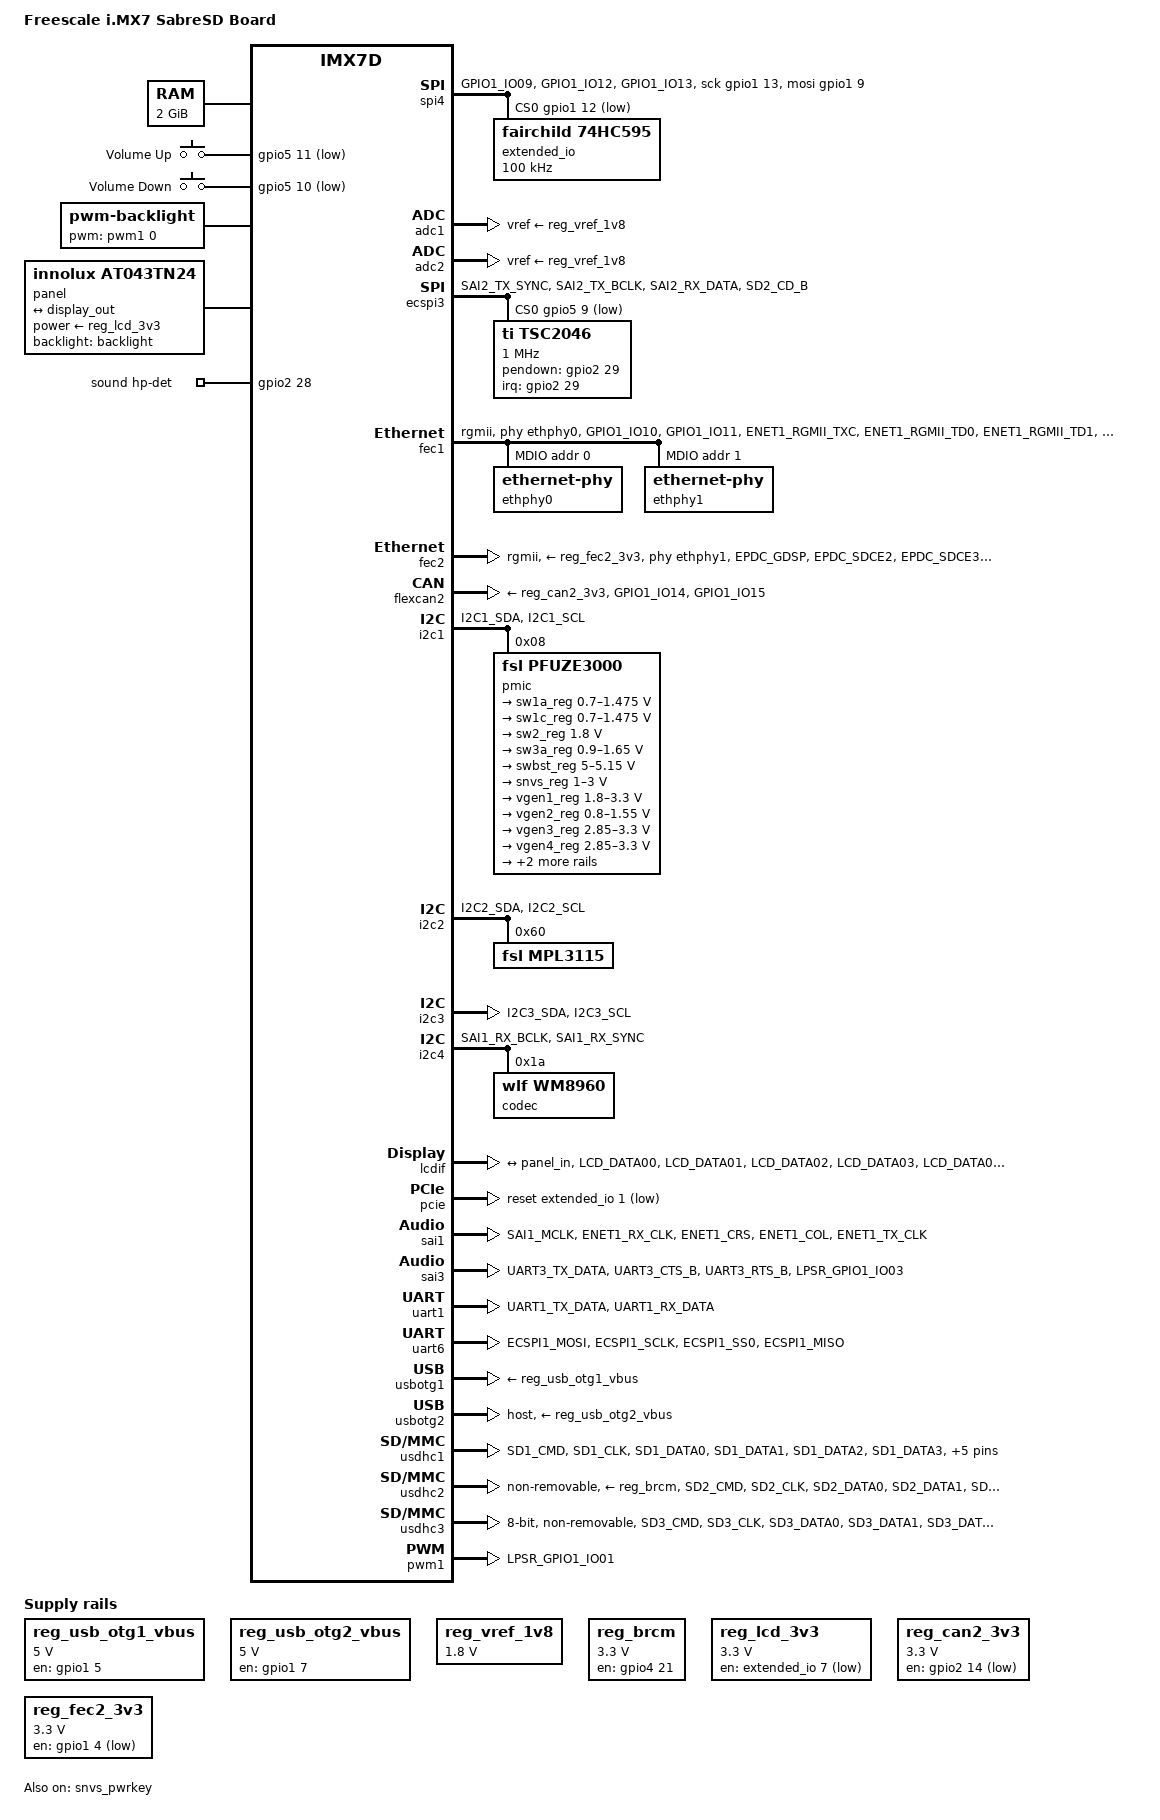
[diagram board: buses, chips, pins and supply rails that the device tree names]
// SPDX-License-Identifier: GPL-2.0+ OR MIT
//
// Copyright (C) 2015 Freescale Semiconductor, Inc.

/dts-v1/;

#include "imx7d.dtsi"

/ {
	model = "Freescale i.MX7 SabreSD Board";
	compatible = "fsl,imx7d-sdb", "fsl,imx7d";

	chosen {
		stdout-path = &uart1;
	};

	memory@80000000 {
		device_type = "memory";
		reg = <0x80000000 0x80000000>;
	};

	gpio-keys {
		compatible = "gpio-keys";
		pinctrl-names = "default";
		pinctrl-0 = <&pinctrl_gpio_keys>;

		volume-up {
			label = "Volume Up";
			gpios = <&gpio5 11 GPIO_ACTIVE_LOW>;
			linux,code = <KEY_VOLUMEUP>;
			wakeup-source;
		};

		volume-down {
			label = "Volume Down";
			gpios = <&gpio5 10 GPIO_ACTIVE_LOW>;
			linux,code = <KEY_VOLUMEDOWN>;
			wakeup-source;
		};
	};

	spi4 {
		compatible = "spi-gpio";
		pinctrl-names = "default";
		pinctrl-0 = <&pinctrl_spi4>;
		gpio-sck = <&gpio1 13 GPIO_ACTIVE_HIGH>;
		gpio-mosi = <&gpio1 9 GPIO_ACTIVE_HIGH>;
		cs-gpios = <&gpio1 12 GPIO_ACTIVE_LOW>;
		num-chipselects = <1>;
		#address-cells = <1>;
		#size-cells = <0>;

		extended_io: gpio-expander@0 {
			compatible = "fairchild,74hc595";
			gpio-controller;
			#gpio-cells = <2>;
			reg = <0>;
			registers-number = <1>;
			spi-max-frequency = <100000>;
		};
	};

	reg_usb_otg1_vbus: regulator-usb-otg1-vbus {
		compatible = "regulator-fixed";
		regulator-name = "usb_otg1_vbus";
		regulator-min-microvolt = <5000000>;
		regulator-max-microvolt = <5000000>;
		gpio = <&gpio1 5 GPIO_ACTIVE_HIGH>;
		enable-active-high;
	};

	reg_usb_otg2_vbus: regulator-usb-otg2-vbus {
		compatible = "regulator-fixed";
		regulator-name = "usb_otg2_vbus";
		pinctrl-names = "default";
		pinctrl-0 = <&pinctrl_usb_otg2_vbus_reg>;
		regulator-min-microvolt = <5000000>;
		regulator-max-microvolt = <5000000>;
		gpio = <&gpio1 7 GPIO_ACTIVE_HIGH>;
		enable-active-high;
	};

	reg_vref_1v8: regulator-vref-1v8 {
		compatible = "regulator-fixed";
		regulator-name = "vref-1v8";
		regulator-min-microvolt = <1800000>;
		regulator-max-microvolt = <1800000>;
	};

	reg_brcm: regulator-brcm {
		compatible = "regulator-fixed";
		gpio = <&gpio4 21 GPIO_ACTIVE_HIGH>;
		enable-active-high;
		regulator-name = "brcm_reg";
		pinctrl-names = "default";
		pinctrl-0 = <&pinctrl_brcm_reg>;
		regulator-min-microvolt = <3300000>;
		regulator-max-microvolt = <3300000>;
		startup-delay-us = <200000>;
	};

	reg_lcd_3v3: regulator-lcd-3v3 {
		compatible = "regulator-fixed";
		regulator-name = "lcd-3v3";
		regulator-min-microvolt = <3300000>;
		regulator-max-microvolt = <3300000>;
		gpio = <&extended_io 7 GPIO_ACTIVE_LOW>;
	};

	reg_can2_3v3: regulator-can2-3v3 {
		compatible = "regulator-fixed";
		regulator-name = "can2-3v3";
		pinctrl-names = "default";
		pinctrl-0 = <&pinctrl_flexcan2_reg>;
		regulator-min-microvolt = <3300000>;
		regulator-max-microvolt = <3300000>;
		gpio = <&gpio2 14 GPIO_ACTIVE_LOW>;
	};

	reg_fec2_3v3: regulator-fec2-3v3 {
		compatible = "regulator-fixed";
		regulator-name = "fec2-3v3";
		pinctrl-names = "default";
		pinctrl-0 = <&pinctrl_enet2_reg>;
		regulator-min-microvolt = <3300000>;
		regulator-max-microvolt = <3300000>;
		gpio = <&gpio1 4 GPIO_ACTIVE_LOW>;
	};

	backlight: backlight {
		compatible = "pwm-backlight";
		pwms = <&pwm1 0 5000000 0>;
		brightness-levels = <0 4 8 16 32 64 128 255>;
		default-brightness-level = <6>;
		status = "okay";
	};

	panel {
		compatible = "innolux,at043tn24";
		backlight = <&backlight>;
		power-supply = <&reg_lcd_3v3>;

		port {
			panel_in: endpoint {
				remote-endpoint = <&display_out>;
			};
		};
	};

	sound {
		compatible = "fsl,imx7d-evk-wm8960",
			     "fsl,imx-audio-wm8960";
		model = "wm8960-audio";
		audio-cpu = <&sai1>;
		audio-codec = <&codec>;
		hp-det-gpio = <&gpio2 28 GPIO_ACTIVE_HIGH>;
		audio-routing =
			"Headphone Jack", "HP_L",
			"Headphone Jack", "HP_R",
			"Ext Spk", "SPK_LP",
			"Ext Spk", "SPK_LN",
			"Ext Spk", "SPK_RP",
			"Ext Spk", "SPK_RN",
			"LINPUT1", "AMIC",
			"AMIC", "MICB";
	};

	sound-hdmi {
		compatible = "fsl,imx-audio-sii902x";
		model = "sii902x-audio";
		audio-cpu = <&sai3>;
		hdmi-out;
	};
};

&adc1 {
	vref-supply = <&reg_vref_1v8>;
	status = "okay";
};

&adc2 {
	vref-supply = <&reg_vref_1v8>;
	status = "okay";
};

&cpu0 {
	cpu-supply = <&sw1a_reg>;
};

&cpu1 {
	cpu-supply = <&sw1a_reg>;
};

&ecspi3 {
	pinctrl-names = "default";
	pinctrl-0 = <&pinctrl_ecspi3>;
	cs-gpios = <&gpio5 9 GPIO_ACTIVE_LOW>;
	status = "okay";

	tsc2046@0 {
		compatible = "ti,tsc2046";
		reg = <0>;
		spi-max-frequency = <1000000>;
		pinctrl-names = "default";
		pinctrl-0 = <&pinctrl_tsc2046_pendown>;
		interrupt-parent = <&gpio2>;
		interrupts = <29 0>;
		pendown-gpio = <&gpio2 29 GPIO_ACTIVE_HIGH>;
		touchscreen-max-pressure = <255>;
		wakeup-source;
	};
};

&fec1 {
	pinctrl-names = "default";
	pinctrl-0 = <&pinctrl_enet1>;
	assigned-clocks = <&clks IMX7D_ENET1_TIME_ROOT_SRC>,
			  <&clks IMX7D_ENET1_TIME_ROOT_CLK>;
	assigned-clock-parents = <&clks IMX7D_PLL_ENET_MAIN_100M_CLK>;
	assigned-clock-rates = <0>, <100000000>;
	phy-mode = "rgmii";
	phy-handle = <&ethphy0>;
	fsl,magic-packet;
	phy-reset-gpios = <&extended_io 5 GPIO_ACTIVE_LOW>;
	status = "okay";

	mdio {
		#address-cells = <1>;
		#size-cells = <0>;

		ethphy0: ethernet-phy@0 {
			reg = <0>;
		};

		ethphy1: ethernet-phy@1 {
			reg = <1>;
		};
	};
};

&fec2 {
	pinctrl-names = "default";
	pinctrl-0 = <&pinctrl_enet2>;
	assigned-clocks = <&clks IMX7D_ENET2_TIME_ROOT_SRC>,
			  <&clks IMX7D_ENET2_TIME_ROOT_CLK>;
	assigned-clock-parents = <&clks IMX7D_PLL_ENET_MAIN_100M_CLK>;
	assigned-clock-rates = <0>, <100000000>;
	phy-mode = "rgmii";
	phy-handle = <&ethphy1>;
	phy-supply = <&reg_fec2_3v3>;
	fsl,magic-packet;
	status = "okay";
};

&flexcan2 {
	pinctrl-names = "default";
	pinctrl-0 = <&pinctrl_flexcan2>;
	xceiver-supply = <&reg_can2_3v3>;
	status = "okay";
};

&i2c1 {
	pinctrl-names = "default";
	pinctrl-0 = <&pinctrl_i2c1>;
	status = "okay";

	pmic: pfuze3000@8 {
		compatible = "fsl,pfuze3000";
		reg = <0x08>;

		regulators {
			sw1a_reg: sw1a {
				regulator-min-microvolt = <700000>;
				regulator-max-microvolt = <1475000>;
				regulator-boot-on;
				regulator-always-on;
				regulator-ramp-delay = <6250>;
			};

			/* use sw1c_reg to align with pfuze100/pfuze200 */
			sw1c_reg: sw1b {
				regulator-min-microvolt = <700000>;
				regulator-max-microvolt = <1475000>;
				regulator-boot-on;
				regulator-always-on;
				regulator-ramp-delay = <6250>;
			};

			sw2_reg: sw2 {
				regulator-min-microvolt = <1800000>;
				regulator-max-microvolt = <1800000>;
				regulator-boot-on;
				regulator-always-on;
			};

			sw3a_reg: sw3 {
				regulator-min-microvolt = <900000>;
				regulator-max-microvolt = <1650000>;
				regulator-boot-on;
				regulator-always-on;
			};

			swbst_reg: swbst {
				regulator-min-microvolt = <5000000>;
				regulator-max-microvolt = <5150000>;
			};

			snvs_reg: vsnvs {
				regulator-min-microvolt = <1000000>;
				regulator-max-microvolt = <3000000>;
				regulator-boot-on;
				regulator-always-on;
			};

			vref_reg: vrefddr {
				regulator-boot-on;
				regulator-always-on;
			};

			vgen1_reg: vldo1 {
				regulator-min-microvolt = <1800000>;
				regulator-max-microvolt = <3300000>;
				regulator-always-on;
			};

			vgen2_reg: vldo2 {
				regulator-min-microvolt = <800000>;
				regulator-max-microvolt = <1550000>;
			};

			vgen3_reg: vccsd {
				regulator-min-microvolt = <2850000>;
				regulator-max-microvolt = <3300000>;
				regulator-always-on;
			};

			vgen4_reg: v33 {
				regulator-min-microvolt = <2850000>;
				regulator-max-microvolt = <3300000>;
				regulator-always-on;
			};

			vgen5_reg: vldo3 {
				regulator-min-microvolt = <1800000>;
				regulator-max-microvolt = <3300000>;
				regulator-always-on;
			};

			vgen6_reg: vldo4 {
				regulator-min-microvolt = <2800000>;
				regulator-max-microvolt = <2800000>;
				regulator-always-on;
			};
		};
	};
};

&i2c2 {
	pinctrl-names = "default";
	pinctrl-0 = <&pinctrl_i2c2>;
	status = "okay";

	mpl3115@60 {
		compatible = "fsl,mpl3115";
		reg = <0x60>;
	};
};

&i2c3 {
	pinctrl-names = "default";
	pinctrl-0 = <&pinctrl_i2c3>;
	status = "okay";
};

&i2c4 {
	pinctrl-names = "default";
	pinctrl-0 = <&pinctrl_i2c4>;
	status = "okay";

	codec: wm8960@1a {
		compatible = "wlf,wm8960";
		reg = <0x1a>;
		clocks = <&clks IMX7D_AUDIO_MCLK_ROOT_DIV>;
		clock-names = "mclk";
		wlf,shared-lrclk;
		wlf,hp-cfg = <2 2 3>;
		wlf,gpio-cfg = <1 3>;
		assigned-clocks = <&clks IMX7D_AUDIO_MCLK_ROOT_SRC>,
				  <&clks IMX7D_PLL_AUDIO_POST_DIV>,
				  <&clks IMX7D_AUDIO_MCLK_ROOT_DIV>;
		assigned-clock-parents = <&clks IMX7D_PLL_AUDIO_POST_DIV>;
		assigned-clock-rates = <0>, <884736000>, <12288000>;
	};
};

&lcdif {
	pinctrl-names = "default";
	pinctrl-0 = <&pinctrl_lcdif>;
	status = "okay";

	port {
		display_out: endpoint {
			remote-endpoint = <&panel_in>;
		};
	};
};

&pcie {
	reset-gpio = <&extended_io 1 GPIO_ACTIVE_LOW>;
	status = "okay";
};

&reg_1p0d {
	vin-supply = <&sw2_reg>;
};

&reg_1p2 {
	vin-supply = <&sw2_reg>;
};

&sai1 {
	pinctrl-names = "default";
	pinctrl-0 = <&pinctrl_sai1>;
	assigned-clocks = <&clks IMX7D_SAI1_ROOT_SRC>,
			  <&clks IMX7D_PLL_AUDIO_POST_DIV>,
			  <&clks IMX7D_SAI1_ROOT_CLK>;
	assigned-clock-parents = <&clks IMX7D_PLL_AUDIO_POST_DIV>;
	assigned-clock-rates = <0>, <884736000>, <36864000>;
	status = "okay";
};

&sai3 {
	pinctrl-names = "default";
	pinctrl-0 = <&pinctrl_sai3 &pinctrl_sai3_mclk>;
	assigned-clocks = <&clks IMX7D_SAI3_ROOT_SRC>,
			  <&clks IMX7D_PLL_AUDIO_POST_DIV>,
			  <&clks IMX7D_SAI3_ROOT_CLK>;
	assigned-clock-parents = <&clks IMX7D_PLL_AUDIO_POST_DIV>;
	assigned-clock-rates = <0>, <884736000>, <36864000>;
	status = "okay";
};

&snvs_pwrkey {
	status = "okay";
};

&uart1 {
	pinctrl-names = "default";
	pinctrl-0 = <&pinctrl_uart1>;
	assigned-clocks = <&clks IMX7D_UART1_ROOT_SRC>;
	assigned-clock-parents = <&clks IMX7D_PLL_SYS_MAIN_240M_CLK>;
	status = "okay";
};

&uart6 {
	pinctrl-names = "default";
	pinctrl-0 = <&pinctrl_uart6>;
	assigned-clocks = <&clks IMX7D_UART6_ROOT_SRC>;
	assigned-clock-parents = <&clks IMX7D_PLL_SYS_MAIN_240M_CLK>;
	uart-has-rtscts;
	status = "okay";
};

&usbotg1 {
	vbus-supply = <&reg_usb_otg1_vbus>;
	status = "okay";
};

&usbotg2 {
	vbus-supply = <&reg_usb_otg2_vbus>;
	dr_mode = "host";
	status = "okay";
};

&usdhc1 {
	pinctrl-names = "default";
	pinctrl-0 = <&pinctrl_usdhc1>;
	cd-gpios = <&gpio5 0 GPIO_ACTIVE_LOW>;
	wp-gpios = <&gpio5 1 GPIO_ACTIVE_HIGH>;
	wakeup-source;
	keep-power-in-suspend;
	status = "okay";
};

&usdhc2 {
	pinctrl-names = "default", "state_100mhz", "state_200mhz";
	pinctrl-0 = <&pinctrl_usdhc2>;
	pinctrl-1 = <&pinctrl_usdhc2_100mhz>;
	pinctrl-2 = <&pinctrl_usdhc2_200mhz>;
	wakeup-source;
	keep-power-in-suspend;
	non-removable;
	vmmc-supply = <&reg_brcm>;
	fsl,tuning-step = <2>;
	status = "okay";
};

&usdhc3 {
	pinctrl-names = "default", "state_100mhz", "state_200mhz";
	pinctrl-0 = <&pinctrl_usdhc3>;
	pinctrl-1 = <&pinctrl_usdhc3_100mhz>;
	pinctrl-2 = <&pinctrl_usdhc3_200mhz>;
	assigned-clocks = <&clks IMX7D_USDHC3_ROOT_CLK>;
	assigned-clock-rates = <400000000>;
	bus-width = <8>;
	fsl,tuning-step = <2>;
	non-removable;
	status = "okay";
};

&wdog1 {
	pinctrl-names = "default";
	pinctrl-0 = <&pinctrl_wdog>;
	fsl,ext-reset-output;
};

&iomuxc {
	pinctrl-names = "default";
	pinctrl-0 = <&pinctrl_hog>;

	imx7d-sdb {
		pinctrl_brcm_reg: brcmreggrp {
			fsl,pins = <
				MX7D_PAD_ECSPI2_MOSI__GPIO4_IO21	0x14
			>;
		};

		pinctrl_ecspi3: ecspi3grp {
			fsl,pins = <
				MX7D_PAD_SAI2_TX_SYNC__ECSPI3_MISO	0x2
				MX7D_PAD_SAI2_TX_BCLK__ECSPI3_MOSI	0x2
				MX7D_PAD_SAI2_RX_DATA__ECSPI3_SCLK	0x2
				MX7D_PAD_SD2_CD_B__GPIO5_IO9		0x59
			>;
		};

		pinctrl_enet1: enet1grp {
			fsl,pins = <
				MX7D_PAD_GPIO1_IO10__ENET1_MDIO			0x3
				MX7D_PAD_GPIO1_IO11__ENET1_MDC			0x3
				MX7D_PAD_ENET1_RGMII_TXC__ENET1_RGMII_TXC	0x1
				MX7D_PAD_ENET1_RGMII_TD0__ENET1_RGMII_TD0	0x1
				MX7D_PAD_ENET1_RGMII_TD1__ENET1_RGMII_TD1	0x1
				MX7D_PAD_ENET1_RGMII_TD2__ENET1_RGMII_TD2	0x1
				MX7D_PAD_ENET1_RGMII_TD3__ENET1_RGMII_TD3	0x1
				MX7D_PAD_ENET1_RGMII_TX_CTL__ENET1_RGMII_TX_CTL	0x1
				MX7D_PAD_ENET1_RGMII_RXC__ENET1_RGMII_RXC	0x1
				MX7D_PAD_ENET1_RGMII_RD0__ENET1_RGMII_RD0	0x1
				MX7D_PAD_ENET1_RGMII_RD1__ENET1_RGMII_RD1	0x1
				MX7D_PAD_ENET1_RGMII_RD2__ENET1_RGMII_RD2	0x1
				MX7D_PAD_ENET1_RGMII_RD3__ENET1_RGMII_RD3	0x1
				MX7D_PAD_ENET1_RGMII_RX_CTL__ENET1_RGMII_RX_CTL	0x1
			>;
		};

		pinctrl_enet2: enet2grp {
			fsl,pins = <
				MX7D_PAD_EPDC_GDSP__ENET2_RGMII_TXC		0x1
				MX7D_PAD_EPDC_SDCE2__ENET2_RGMII_TD0		0x1
				MX7D_PAD_EPDC_SDCE3__ENET2_RGMII_TD1		0x1
				MX7D_PAD_EPDC_GDCLK__ENET2_RGMII_TD2		0x1
				MX7D_PAD_EPDC_GDOE__ENET2_RGMII_TD3		0x1
				MX7D_PAD_EPDC_GDRL__ENET2_RGMII_TX_CTL		0x1
				MX7D_PAD_EPDC_SDCE1__ENET2_RGMII_RXC		0x1
				MX7D_PAD_EPDC_SDCLK__ENET2_RGMII_RD0		0x1
				MX7D_PAD_EPDC_SDLE__ENET2_RGMII_RD1		0x1
				MX7D_PAD_EPDC_SDOE__ENET2_RGMII_RD2		0x1
				MX7D_PAD_EPDC_SDSHR__ENET2_RGMII_RD3		0x1
				MX7D_PAD_EPDC_SDCE0__ENET2_RGMII_RX_CTL		0x1
			>;
		};

		pinctrl_enet2_reg: enet2reggrp {
			fsl,pins = <
				MX7D_PAD_LPSR_GPIO1_IO04__GPIO1_IO4	0x14
			>;
		};

		pinctrl_flexcan2: flexcan2grp {
			fsl,pins = <
				MX7D_PAD_GPIO1_IO14__FLEXCAN2_RX	0x59
				MX7D_PAD_GPIO1_IO15__FLEXCAN2_TX	0x59
			>;
		};

		pinctrl_flexcan2_reg: flexcan2reggrp {
			fsl,pins = <
				MX7D_PAD_EPDC_DATA14__GPIO2_IO14	0x59	/* CAN_STBY */
			>;
		};

		pinctrl_gpio_keys: gpio_keysgrp {
			fsl,pins = <
				MX7D_PAD_SD2_RESET_B__GPIO5_IO11	0x59
				MX7D_PAD_SD2_WP__GPIO5_IO10		0x59
			>;
		};

		pinctrl_hog: hoggrp {
			fsl,pins = <
				MX7D_PAD_ECSPI2_SS0__GPIO4_IO23		0x34  /* bt reg on */
				MX7D_PAD_EPDC_BDR0__GPIO2_IO28		0x59  /* headphone detect */
			>;
		};

		pinctrl_i2c1: i2c1grp {
			fsl,pins = <
				MX7D_PAD_I2C1_SDA__I2C1_SDA		0x4000007f
				MX7D_PAD_I2C1_SCL__I2C1_SCL		0x4000007f
			>;
		};

		pinctrl_i2c2: i2c2grp {
			fsl,pins = <
				MX7D_PAD_I2C2_SDA__I2C2_SDA		0x4000007f
				MX7D_PAD_I2C2_SCL__I2C2_SCL		0x4000007f
			>;
		};

		pinctrl_i2c3: i2c3grp {
			fsl,pins = <
				MX7D_PAD_I2C3_SDA__I2C3_SDA		0x4000007f
				MX7D_PAD_I2C3_SCL__I2C3_SCL		0x4000007f
			>;
		};

		pinctrl_i2c4: i2c4grp {
			fsl,pins = <
				MX7D_PAD_SAI1_RX_BCLK__I2C4_SDA		0x4000007f
				MX7D_PAD_SAI1_RX_SYNC__I2C4_SCL		0x4000007f
			>;
		};

		pinctrl_lcdif: lcdifgrp {
			fsl,pins = <
				MX7D_PAD_LCD_DATA00__LCD_DATA0		0x79
				MX7D_PAD_LCD_DATA01__LCD_DATA1		0x79
				MX7D_PAD_LCD_DATA02__LCD_DATA2		0x79
				MX7D_PAD_LCD_DATA03__LCD_DATA3		0x79
				MX7D_PAD_LCD_DATA04__LCD_DATA4		0x79
				MX7D_PAD_LCD_DATA05__LCD_DATA5		0x79
				MX7D_PAD_LCD_DATA06__LCD_DATA6		0x79
				MX7D_PAD_LCD_DATA07__LCD_DATA7		0x79
				MX7D_PAD_LCD_DATA08__LCD_DATA8		0x79
				MX7D_PAD_LCD_DATA09__LCD_DATA9		0x79
				MX7D_PAD_LCD_DATA10__LCD_DATA10		0x79
				MX7D_PAD_LCD_DATA11__LCD_DATA11		0x79
				MX7D_PAD_LCD_DATA12__LCD_DATA12		0x79
				MX7D_PAD_LCD_DATA13__LCD_DATA13		0x79
				MX7D_PAD_LCD_DATA14__LCD_DATA14		0x79
				MX7D_PAD_LCD_DATA15__LCD_DATA15		0x79
				MX7D_PAD_LCD_DATA16__LCD_DATA16		0x79
				MX7D_PAD_LCD_DATA17__LCD_DATA17		0x79
				MX7D_PAD_LCD_DATA18__LCD_DATA18		0x79
				MX7D_PAD_LCD_DATA19__LCD_DATA19		0x79
				MX7D_PAD_LCD_DATA20__LCD_DATA20		0x79
				MX7D_PAD_LCD_DATA21__LCD_DATA21		0x79
				MX7D_PAD_LCD_DATA22__LCD_DATA22		0x79
				MX7D_PAD_LCD_DATA23__LCD_DATA23		0x79
				MX7D_PAD_LCD_CLK__LCD_CLK		0x79
				MX7D_PAD_LCD_ENABLE__LCD_ENABLE		0x79
				MX7D_PAD_LCD_VSYNC__LCD_VSYNC		0x79
				MX7D_PAD_LCD_HSYNC__LCD_HSYNC		0x79
				MX7D_PAD_LCD_RESET__LCD_RESET		0x79
			>;
		};

		pinctrl_sai1: sai1grp {
			fsl,pins = <
				MX7D_PAD_SAI1_MCLK__SAI1_MCLK           0x1f
				MX7D_PAD_ENET1_RX_CLK__SAI1_TX_BCLK     0x1f
				MX7D_PAD_ENET1_CRS__SAI1_TX_SYNC	0x1f
				MX7D_PAD_ENET1_COL__SAI1_TX_DATA0	0x30
				MX7D_PAD_ENET1_TX_CLK__SAI1_RX_DATA0	0x1f
			>;
		};

		pinctrl_sai2: sai2grp {
			fsl,pins = <
				MX7D_PAD_SAI2_TX_BCLK__SAI2_TX_BCLK     0x1f
				MX7D_PAD_SAI2_TX_SYNC__SAI2_TX_SYNC     0x1f
				MX7D_PAD_SAI2_TX_DATA__SAI2_TX_DATA0    0x30
				MX7D_PAD_SAI2_RX_DATA__SAI2_RX_DATA0    0x1f
			>;
		};

		pinctrl_sai3: sai3grp {
			fsl,pins = <
				MX7D_PAD_UART3_TX_DATA__SAI3_TX_BCLK   0x1f
				MX7D_PAD_UART3_CTS_B__SAI3_TX_SYNC     0x1f
				MX7D_PAD_UART3_RTS_B__SAI3_TX_DATA0    0x30
			>;
		};

		pinctrl_spi4: spi4grp {
			fsl,pins = <
				MX7D_PAD_GPIO1_IO09__GPIO1_IO9	0x59
				MX7D_PAD_GPIO1_IO12__GPIO1_IO12	0x59
				MX7D_PAD_GPIO1_IO13__GPIO1_IO13	0x59
			>;
		};

		pinctrl_tsc2046_pendown: tsc2046_pendown {
			fsl,pins = <
				MX7D_PAD_EPDC_BDR1__GPIO2_IO29		0x59
			>;
		};

		pinctrl_uart1: uart1grp {
			fsl,pins = <
				MX7D_PAD_UART1_TX_DATA__UART1_DCE_TX	0x79
				MX7D_PAD_UART1_RX_DATA__UART1_DCE_RX	0x79
			>;
		};

		pinctrl_uart5: uart5grp {
			fsl,pins = <
				MX7D_PAD_SAI1_TX_BCLK__UART5_DCE_TX	0x79
				MX7D_PAD_SAI1_RX_DATA__UART5_DCE_RX	0x79
				MX7D_PAD_SAI1_TX_SYNC__UART5_DCE_CTS	0x79
				MX7D_PAD_SAI1_TX_DATA__UART5_DCE_RTS	0x79
			>;
		};

		pinctrl_uart6: uart6grp {
			fsl,pins = <
				MX7D_PAD_ECSPI1_MOSI__UART6_DCE_TX	0x79
				MX7D_PAD_ECSPI1_SCLK__UART6_DCE_RX	0x79
				MX7D_PAD_ECSPI1_SS0__UART6_DCE_CTS	0x79
				MX7D_PAD_ECSPI1_MISO__UART6_DCE_RTS	0x79
			>;
		};

		pinctrl_usdhc1: usdhc1grp {
			fsl,pins = <
				MX7D_PAD_SD1_CMD__SD1_CMD		0x59
				MX7D_PAD_SD1_CLK__SD1_CLK		0x19
				MX7D_PAD_SD1_DATA0__SD1_DATA0		0x59
				MX7D_PAD_SD1_DATA1__SD1_DATA1		0x59
				MX7D_PAD_SD1_DATA2__SD1_DATA2		0x59
				MX7D_PAD_SD1_DATA3__SD1_DATA3		0x59
				MX7D_PAD_SD1_CD_B__GPIO5_IO0		0x59 /* CD */
				MX7D_PAD_SD1_WP__GPIO5_IO1		0x59 /* WP */
				MX7D_PAD_SD1_RESET_B__GPIO5_IO2		0x59 /* vmmc */
			>;
		};

		pinctrl_usdhc2: usdhc2grp {
			fsl,pins = <
				MX7D_PAD_SD2_CMD__SD2_CMD		0x59
				MX7D_PAD_SD2_CLK__SD2_CLK		0x19
				MX7D_PAD_SD2_DATA0__SD2_DATA0		0x59
				MX7D_PAD_SD2_DATA1__SD2_DATA1		0x59
				MX7D_PAD_SD2_DATA2__SD2_DATA2		0x59
				MX7D_PAD_SD2_DATA3__SD2_DATA3		0x59
			>;
		};

		pinctrl_usdhc2_100mhz: usdhc2grp_100mhz {
			fsl,pins = <
				MX7D_PAD_SD2_CMD__SD2_CMD		0x5a
				MX7D_PAD_SD2_CLK__SD2_CLK		0x1a
				MX7D_PAD_SD2_DATA0__SD2_DATA0		0x5a
				MX7D_PAD_SD2_DATA1__SD2_DATA1		0x5a
				MX7D_PAD_SD2_DATA2__SD2_DATA2		0x5a
				MX7D_PAD_SD2_DATA3__SD2_DATA3		0x5a
			>;
		};

		pinctrl_usdhc2_200mhz: usdhc2grp_200mhz {
			fsl,pins = <
				MX7D_PAD_SD2_CMD__SD2_CMD		0x5b
				MX7D_PAD_SD2_CLK__SD2_CLK		0x1b
				MX7D_PAD_SD2_DATA0__SD2_DATA0		0x5b
				MX7D_PAD_SD2_DATA1__SD2_DATA1		0x5b
				MX7D_PAD_SD2_DATA2__SD2_DATA2		0x5b
				MX7D_PAD_SD2_DATA3__SD2_DATA3		0x5b
			>;
		};


		pinctrl_usdhc3: usdhc3grp {
			fsl,pins = <
				MX7D_PAD_SD3_CMD__SD3_CMD		0x59
				MX7D_PAD_SD3_CLK__SD3_CLK		0x19
				MX7D_PAD_SD3_DATA0__SD3_DATA0		0x59
				MX7D_PAD_SD3_DATA1__SD3_DATA1		0x59
				MX7D_PAD_SD3_DATA2__SD3_DATA2		0x59
				MX7D_PAD_SD3_DATA3__SD3_DATA3		0x59
				MX7D_PAD_SD3_DATA4__SD3_DATA4		0x59
				MX7D_PAD_SD3_DATA5__SD3_DATA5		0x59
				MX7D_PAD_SD3_DATA6__SD3_DATA6		0x59
				MX7D_PAD_SD3_DATA7__SD3_DATA7		0x59
				MX7D_PAD_SD3_STROBE__SD3_STROBE		0x19
			>;
		};

		pinctrl_usdhc3_100mhz: usdhc3grp_100mhz {
			fsl,pins = <
				MX7D_PAD_SD3_CMD__SD3_CMD		0x5a
				MX7D_PAD_SD3_CLK__SD3_CLK		0x1a
				MX7D_PAD_SD3_DATA0__SD3_DATA0		0x5a
				MX7D_PAD_SD3_DATA1__SD3_DATA1		0x5a
				MX7D_PAD_SD3_DATA2__SD3_DATA2		0x5a
				MX7D_PAD_SD3_DATA3__SD3_DATA3		0x5a
				MX7D_PAD_SD3_DATA4__SD3_DATA4		0x5a
				MX7D_PAD_SD3_DATA5__SD3_DATA5		0x5a
				MX7D_PAD_SD3_DATA6__SD3_DATA6		0x5a
				MX7D_PAD_SD3_DATA7__SD3_DATA7		0x5a
				MX7D_PAD_SD3_STROBE__SD3_STROBE		0x1a
			>;
		};

		pinctrl_usdhc3_200mhz: usdhc3grp_200mhz {
			fsl,pins = <
				MX7D_PAD_SD3_CMD__SD3_CMD		0x5b
				MX7D_PAD_SD3_CLK__SD3_CLK		0x1b
				MX7D_PAD_SD3_DATA0__SD3_DATA0		0x5b
				MX7D_PAD_SD3_DATA1__SD3_DATA1		0x5b
				MX7D_PAD_SD3_DATA2__SD3_DATA2		0x5b
				MX7D_PAD_SD3_DATA3__SD3_DATA3		0x5b
				MX7D_PAD_SD3_DATA4__SD3_DATA4		0x5b
				MX7D_PAD_SD3_DATA5__SD3_DATA5		0x5b
				MX7D_PAD_SD3_DATA6__SD3_DATA6		0x5b
				MX7D_PAD_SD3_DATA7__SD3_DATA7		0x5b
				MX7D_PAD_SD3_STROBE__SD3_STROBE		0x1b
			>;
		};
	};
};

&pwm1 {
	pinctrl-names = "default";
	pinctrl-0 = <&pinctrl_pwm1>;
	status = "okay";
};

&iomuxc_lpsr {
	pinctrl_wdog: wdoggrp {
		fsl,pins = <
			MX7D_PAD_LPSR_GPIO1_IO00__WDOG1_WDOG_B		0x74
		>;
	};

	pinctrl_pwm1: pwm1grp {
		fsl,pins = <
			MX7D_PAD_LPSR_GPIO1_IO01__PWM1_OUT		0x30
		>;
	};

	pinctrl_usb_otg2_vbus_reg: usbotg2vbusreggrp {
		fsl,pins = <
			MX7D_PAD_LPSR_GPIO1_IO07__GPIO1_IO7	  0x14
		>;
	};

	pinctrl_sai3_mclk: sai3grp_mclk {
		fsl,pins = <
			MX7D_PAD_LPSR_GPIO1_IO03__SAI3_MCLK	0x1f
		>;
	};
};
